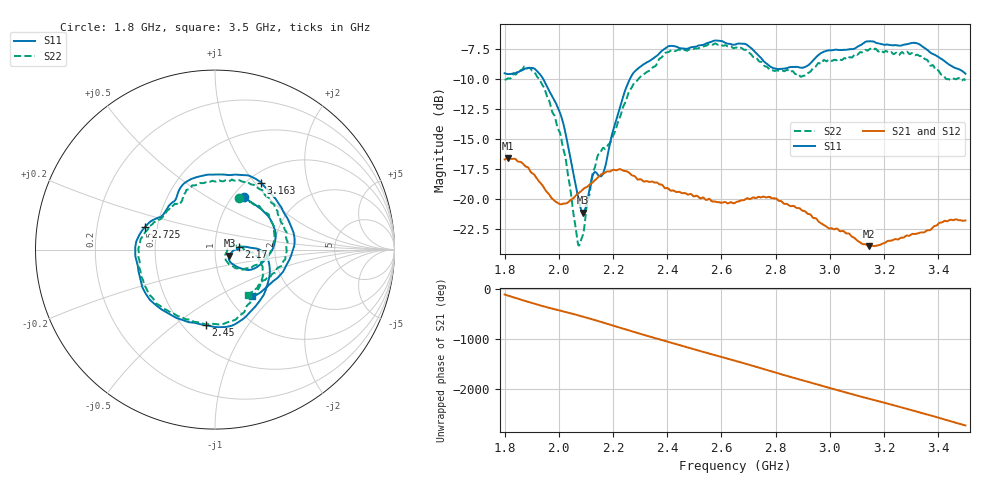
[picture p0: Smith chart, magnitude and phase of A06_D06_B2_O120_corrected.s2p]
! Created with skrf 1.9.0 (http://scikit-rf.org).
# Hz S RI R 50.0
!freq ReS11 ImS11 ReS21 ImS21 ReS12 ImS12 ReS22 ImS22
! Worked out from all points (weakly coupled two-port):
!   1601 points, 1.8 GHz to 3.5 GHz, reference 50 ohm
!   highest |S21| = -16.64 dB at 1.812 GHz (marker M1); lowest = -24.0 dB at 3.144 GHz (marker M2)
!   lowest |S11| = -21.2 dB at 2.09 GHz (marker M3), VSWR 1.19, Z = 58.6 - j3.98 ohm
!   |S11| at or under -10 dB: 1.942 GHz to 2.262 GHz (319.7 MHz wide, 15.2 % of centre)
!   |S22| runs from -23.9 to -7.0 dB; largest |S21 - S12| = 0.0025
!   S11 on the Smith chart (normalised r, x): 1.8 GHz: 1.13, +0.74; 2.17 GHz: 1.31, +0.04; 2.45 GHz: 0.64, -0.66; 2.725 GHz: 0.43, +0.13; 3.163 GHz: 1.15, +1.08; 3.5 GHz: 1.28, -0.75
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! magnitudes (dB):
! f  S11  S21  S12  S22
! 1.8 GHz  -9.5  -16.7  -16.7  -10.0
! 1.812 GHz  -9.6  -16.6  -16.6  -10.0
! 1.88 GHz  -9.1  -17.3  -17.3  -9.1
! 1.942 GHz  -10.0  -19.0  -19.0  -10.6
! 2.011 GHz  -13.3  -20.4  -20.4  -15.3
! 2.067 GHz  -19.4  -19.6  -19.6  -23.2
! 2.084 GHz  -21.0  -19.3  -19.3  -23.3
! 2.09 GHz  -21.2  -19.2  -19.2  -22.9
! 2.13 GHz  -17.8  -18.5  -18.5  -17.6
! 2.17 GHz  -17.5  -17.8  -17.9  -15.8
! 2.26 GHz  -10.1  -17.8  -17.8  -11.0
! 2.367 GHz  -7.9  -18.7  -18.7  -8.4
! 2.45 GHz  -7.4  -19.5  -19.5  -7.6
! 2.65 GHz  -7.1  -20.4  -20.3  -7.4
! 2.725 GHz  -7.8  -20.0  -19.9  -8.2
! 2.802 GHz  -9.1  -20.0  -20.0  -9.3
! 2.934 GHz  -8.6  -21.5  -21.5  -9.2
! 3.144 GHz  -6.9  -24.0  -23.9  -7.6
! 3.163 GHz  -6.9  -24.0  -23.9  -7.5
! 3.217 GHz  -7.1  -23.5  -23.5  -7.8
! 3.324 GHz  -7.0  -22.9  -22.9  -8.0
! 3.5 GHz  -9.6  -21.8  -21.8  -10.1
